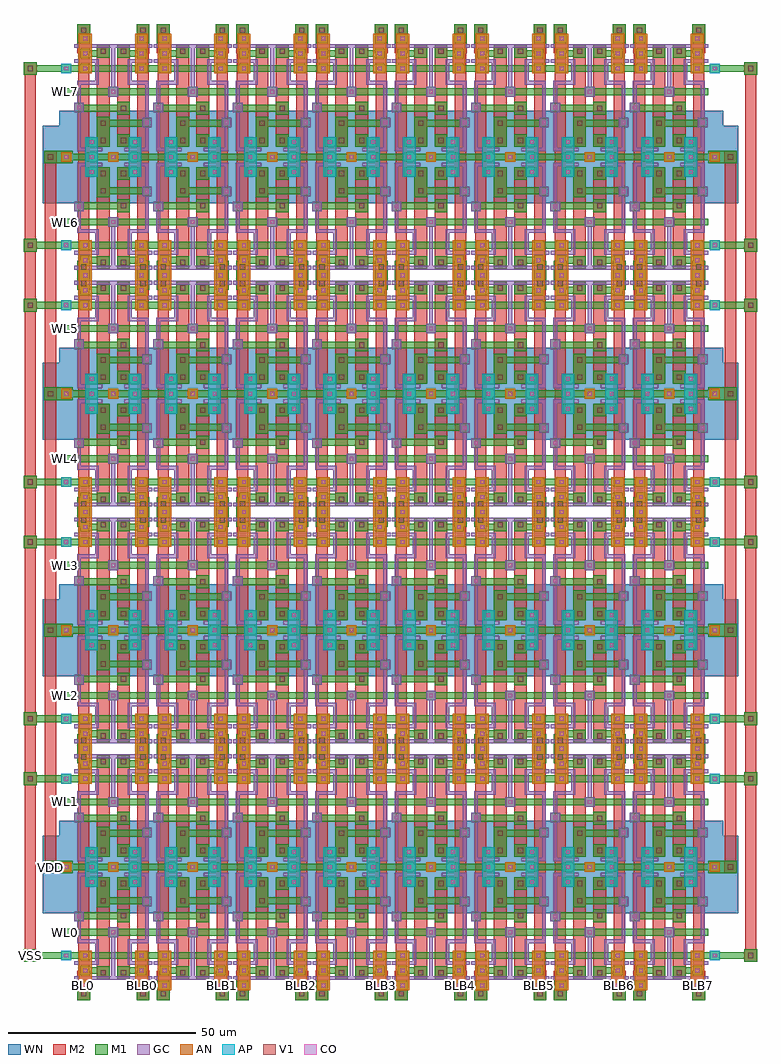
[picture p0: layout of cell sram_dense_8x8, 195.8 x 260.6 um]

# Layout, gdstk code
import gdstk
lib = gdstk.Library(unit=1e-6, precision=1e-07)
def R(c, l, rs):  # rectangles x0, y0, x1, y1
    for r in rs: c.add(gdstk.rectangle(r[:2], r[2:], *l))
def A(c, l, x, y, w, h, nx, ny, dx, dy):  # array of equal rectangles
    R(c, l, [(x+i*dx, y+j*dy, x+i*dx+w, y+j*dy+h) for i in range(nx) for j in range(ny)])
AP = (3, 1)
AN = (3, 2)
GC = (8, 1)
CO = (11, 0)
M1 = (13, 0)
V1 = (19, 0)
M2 = (20, 0)
WN = (140, 0)

sram_dense = lib.new_cell('sram_dense')
R(sram_dense, AP, [(3.3,26.3,6.7,32.9), (14.9,26.3,18.3,32.9)])
R(sram_dense, AN, [(1.6,-1.3,5,9.3), (16.6,-1.3,20,9.3), (9.5,30.3,12.1,32.9)])
R(sram_dense, GC, [(0.4,1.5,6.2,2.5), (2.8,1.5,18.8,2.5), (10.3,1.5,11.3,14.7), (15.4,1.5,21.2,2.5), (0.4,5.5,6.2,6.5), (2.8,5.5,6.9,6.5), (5.9,5.5,6.9,12.3), (14.7,5.5,18.8,6.5), (14.7,5.5,15.7,12.3), (15.4,5.5,21.2,6.5), (1.1,11.3,6.9,12.3), (1.1,11.3,2.1,30.1), (14.7,11.3,20.3,12.3), (19.3,11.3,20.3,30.1), (9.5,12.9,12.1,15.5), (0.3,17.1,2.9,19.7), (18.5,21.1,21.1,23.7), (1.1,29.1,5.5,30.1), (2.1,29.1,7.9,30.1), (13.7,29.1,19.5,30.1), (16.1,29.1,20.3,30.1)])
A(sram_dense, CO, 2.8, -0.5, 1, 1, 1, 3, 0, 4)
A(sram_dense, CO, 17.8, -0.5, 1, 1, 1, 3, 0, 4)
A(sram_dense, CO, 4.5, 31.1, 1, 1, 3, 1, 5.8, 0)
R(sram_dense, CO, [(10.3,13.7,11.3,14.7), (1.1,17.9,2.1,18.9), (19.3,21.9,20.3,22.9), (4.5,27.1,5.5,28.1), (16.1,27.1,17.1,28.1)])
A(sram_dense, M1, 2, -1.3, 2.6, 2.6, 1, 3, 0, 4)
A(sram_dense, M1, 17, -1.3, 2.6, 2.6, 1, 3, 0, 4)
A(sram_dense, M1, 3.7, 30.3, 2.6, 2.6, 3, 1, 5.8, 0)
R(sram_dense, M1, [(1.2,-3.9,4.6,-0.5), (1.2,-3.9,4.6,1.3), (17,-3.9,20.4,-0.5), (17,-3.9,20.4,1.3), (6.4,1.7,9.8,5.1), (11.8,1.7,15.2,5.1), (7.2,2.5,9,4.9), (12.6,2.5,14.4,4.9), (2.4,3.1,9,4.9), (12.6,3.1,19.2,4.9), (0,7.1,21.2,8.9), (9.5,12.9,12.1,15.5), (0,13.3,21.2,15.1), (11.8,16.9,15.2,20.3), (0.3,17.1,2.9,19.7), (0.7,17.7,14.4,19.5), (6.4,20.9,9.8,24.3), (6.4,20.9,9.8,28.9), (18.5,21.1,21.1,23.7), (7.2,21.7,20.7,23.5), (6.4,25.5,9.8,28.9), (11.8,25.5,15.2,28.9), (3.7,26.3,6.3,28.9), (7.2,26.3,9,28.5), (12.6,26.3,14.4,28.5), (15.3,26.3,17.9,28.9), (4.1,26.7,9,28.5), (12.6,26.7,17.5,28.5), (0,30.7,21.2,32.5)])
R(sram_dense, V1, [(2.2,-2.9,3.6,-1.5), (18,-2.9,19.4,-1.5), (7.4,2.7,8.8,4.1), (12.8,2.7,14.2,4.1), (12.8,17.9,14.2,19.3), (7.4,21.9,8.8,23.3), (7.4,26.5,8.8,27.9), (12.8,26.5,14.2,27.9)])
R(sram_dense, M2, [(1.2,-3.9,4.6,-0.5), (1.2,-3.9,4.6,3.9), (1.4,-3.9,4.4,31.6), (17,-3.9,20.4,-0.5), (17,-3.9,20.4,3.9), (17.2,-3.9,20.2,31.6), (6.4,1.7,9.8,5.1), (6.4,1.7,9.8,28.9), (11.8,1.7,15.2,5.1), (11.8,1.7,15.2,28.9), (11.8,16.9,15.2,20.3), (6.4,20.9,9.8,24.3), (6.4,25.5,9.8,28.9), (11.8,25.5,15.2,28.9)])
R(sram_dense, WN, [(-3.7,19.3,25.3,39.9)])

sram_dense_8x8 = lib.new_cell('sram_dense_8x8')
R(sram_dense_8x8, AP, [(-3.1,6.7,-0.5,9.3), (170.1,6.7,172.7,9.3), (-3.1,53.9,-0.5,56.5), (170.1,53.9,172.7,56.5), (-3.1,69.9,-0.5,72.5), (170.1,69.9,172.7,72.5), (-3.1,117.1,-0.5,119.7), (170.1,117.1,172.7,119.7), (-3.1,133.1,-0.5,135.7), (170.1,133.1,172.7,135.7), (-3.1,180.3,-0.5,182.9), (170.1,180.3,172.7,182.9), (-3.1,196.3,-0.5,198.9), (170.1,196.3,172.7,198.9), (-3.1,243.5,-0.5,246.1), (170.1,243.5,172.7,246.1)])
A(sram_dense_8x8, AN, -3.1, 30.3, 2.6, 2.6, 1, 4, 0, 63.2)
A(sram_dense_8x8, AN, 170.1, 30.3, 2.6, 2.6, 1, 4, 0, 63.2)
A(sram_dense_8x8, CO, -2.3, 7.5, 1, 1, 1, 3, 0, 23.6)
A(sram_dense_8x8, CO, 170.9, 7.5, 1, 1, 1, 3, 0, 23.6)
A(sram_dense_8x8, CO, -2.3, 70.7, 1, 1, 1, 3, 0, 23.6)
A(sram_dense_8x8, CO, 170.9, 70.7, 1, 1, 1, 3, 0, 23.6)
A(sram_dense_8x8, CO, -2.3, 133.9, 1, 1, 1, 3, 0, 23.6)
A(sram_dense_8x8, CO, 170.9, 133.9, 1, 1, 1, 3, 0, 23.6)
A(sram_dense_8x8, CO, -2.3, 197.1, 1, 1, 1, 3, 0, 23.6)
A(sram_dense_8x8, CO, 170.9, 197.1, 1, 1, 1, 3, 0, 23.6)
A(sram_dense_8x8, M1, -3.1, 6.7, 2.6, 2.6, 1, 3, 0, 23.6)
A(sram_dense_8x8, M1, 170.1, 6.7, 2.6, 2.6, 1, 3, 0, 23.6)
A(sram_dense_8x8, M1, 0, 7.1, 169.6, 1.8, 1, 3, 0, 23.6)
A(sram_dense_8x8, M1, -7.7, 29.9, 7.6, 3.4, 1, 4, 0, 63.2)
A(sram_dense_8x8, M1, -7.7, 29.9, 3.4, 3.4, 1, 4, 0, 63.2)
A(sram_dense_8x8, M1, 169.7, 29.9, 7.6, 3.4, 1, 4, 0, 63.2)
A(sram_dense_8x8, M1, 173.9, 29.9, 3.4, 3.4, 1, 4, 0, 63.2)
A(sram_dense_8x8, M1, -2.7, 30.7, 3.6, 1.8, 1, 4, 0, 63.2)
A(sram_dense_8x8, M1, 168.7, 30.7, 3.6, 1.8, 1, 4, 0, 63.2)
A(sram_dense_8x8, M1, -3.1, 69.9, 2.6, 2.6, 1, 3, 0, 23.6)
A(sram_dense_8x8, M1, 170.1, 69.9, 2.6, 2.6, 1, 3, 0, 23.6)
A(sram_dense_8x8, M1, 0, 70.3, 169.6, 1.8, 1, 3, 0, 23.6)
A(sram_dense_8x8, M1, -3.1, 133.1, 2.6, 2.6, 1, 3, 0, 23.6)
A(sram_dense_8x8, M1, 170.1, 133.1, 2.6, 2.6, 1, 3, 0, 23.6)
A(sram_dense_8x8, M1, 0, 133.5, 169.6, 1.8, 1, 3, 0, 23.6)
A(sram_dense_8x8, M1, -3.1, 196.3, 2.6, 2.6, 1, 3, 0, 23.6)
A(sram_dense_8x8, M1, 170.1, 196.3, 2.6, 2.6, 1, 3, 0, 23.6)
A(sram_dense_8x8, M1, 0, 196.7, 169.6, 1.8, 1, 3, 0, 23.6)
R(sram_dense_8x8, M1, [(-13.1,6.3,-9.7,9.7), (179.3,6.3,182.7,9.7), (-12.3,7.1,0.9,8.9), (168.7,7.1,181.9,8.9), (-3,13.3,169.6,15.1), (-3,48.1,169.6,49.9), (-13.1,53.5,-9.7,56.9), (179.3,53.5,182.7,56.9), (-12.3,54.3,0.9,56.1), (168.7,54.3,181.9,56.1), (-13.1,69.5,-9.7,72.9), (179.3,69.5,182.7,72.9), (-12.3,70.3,0.9,72.1), (168.7,70.3,181.9,72.1), (-3,76.5,169.6,78.3), (-3,111.3,169.6,113.1), (-13.1,116.7,-9.7,120.1), (179.3,116.7,182.7,120.1), (-12.3,117.5,0.9,119.3), (168.7,117.5,181.9,119.3), (-13.1,132.7,-9.7,136.1), (179.3,132.7,182.7,136.1), (-12.3,133.5,0.9,135.3), (168.7,133.5,181.9,135.3), (-3,139.7,169.6,141.5), (-3,174.5,169.6,176.3), (-13.1,179.9,-9.7,183.3), (179.3,179.9,182.7,183.3), (-12.3,180.7,0.9,182.5), (168.7,180.7,181.9,182.5), (-13.1,195.9,-9.7,199.3), (179.3,195.9,182.7,199.3), (-12.3,196.7,0.9,198.5), (168.7,196.7,181.9,198.5), (-3,202.9,169.6,204.7), (-3,237.7,169.6,239.5), (-13.1,243.1,-9.7,246.5), (179.3,243.1,182.7,246.5), (-12.3,243.9,0.9,245.7), (168.7,243.9,181.9,245.7)])
A(sram_dense_8x8, V1, -6.7, 30.9, 1.4, 1.4, 1, 4, 0, 63.2)
A(sram_dense_8x8, V1, 174.9, 30.9, 1.4, 1.4, 1, 4, 0, 63.2)
R(sram_dense_8x8, V1, [(-12.1,7.3,-10.7,8.7), (180.3,7.3,181.7,8.7), (-12.1,54.5,-10.7,55.9), (180.3,54.5,181.7,55.9), (-12.1,70.5,-10.7,71.9), (180.3,70.5,181.7,71.9), (-12.1,117.7,-10.7,119.1), (180.3,117.7,181.7,119.1), (-12.1,133.7,-10.7,135.1), (180.3,133.7,181.7,135.1), (-12.1,180.9,-10.7,182.3), (180.3,180.9,181.7,182.3), (-12.1,196.9,-10.7,198.3), (180.3,196.9,181.7,198.3), (-12.1,244.1,-10.7,245.5), (180.3,244.1,181.7,245.5)])
A(sram_dense_8x8, M2, -7.7, 29.9, 3.4, 3.4, 1, 4, 0, 63.2)
A(sram_dense_8x8, M2, 173.9, 29.9, 3.4, 3.4, 1, 4, 0, 63.2)
R(sram_dense_8x8, M2, [(-13.1,6.3,-9.7,9.7), (-12.9,6.3,-9.9,246.5), (179.3,6.3,182.7,9.7), (179.5,6.3,182.5,246.5), (-7.5,29.9,-4.5,222.9), (174.1,29.9,177.1,222.9), (-13.1,53.5,-9.7,56.9), (179.3,53.5,182.7,56.9), (-13.1,69.5,-9.7,72.9), (179.3,69.5,182.7,72.9), (-13.1,116.7,-9.7,120.1), (179.3,116.7,182.7,120.1), (-13.1,132.7,-9.7,136.1), (179.3,132.7,182.7,136.1), (-13.1,179.9,-9.7,183.3), (179.3,179.9,182.7,183.3), (-13.1,195.9,-9.7,199.3), (179.3,195.9,182.7,199.3), (-13.1,243.1,-9.7,246.5), (179.3,243.1,182.7,246.5)])
A(sram_dense_8x8, WN, -8.1, 19.3, 177.7, 20.6, 1, 4, 0, 63.2)
A(sram_dense_8x8, WN, 0, 19.3, 177.7, 20.6, 1, 4, 0, 63.2)
r = gdstk.Reference(sram_dense, (0,0)); r.repetition = gdstk.Repetition(8, 1, v1=(21.2,0), v2=(0,0)); sram_dense_8x8.add(r)
r = gdstk.Reference(sram_dense, (0,63.2), x_reflection=True); r.repetition = gdstk.Repetition(8, 1, v1=(21.2,0), v2=(0,0)); sram_dense_8x8.add(r)
r = gdstk.Reference(sram_dense, (0,63.2)); r.repetition = gdstk.Repetition(8, 1, v1=(21.2,0), v2=(0,0)); sram_dense_8x8.add(r)
r = gdstk.Reference(sram_dense, (0,126.4), x_reflection=True); r.repetition = gdstk.Repetition(8, 1, v1=(21.2,0), v2=(0,0)); sram_dense_8x8.add(r)
r = gdstk.Reference(sram_dense, (0,126.4)); r.repetition = gdstk.Repetition(8, 1, v1=(21.2,0), v2=(0,0)); sram_dense_8x8.add(r)
r = gdstk.Reference(sram_dense, (0,189.6), x_reflection=True); r.repetition = gdstk.Repetition(8, 1, v1=(21.2,0), v2=(0,0)); sram_dense_8x8.add(r)
r = gdstk.Reference(sram_dense, (0,189.6)); r.repetition = gdstk.Repetition(8, 1, v1=(21.2,0), v2=(0,0)); sram_dense_8x8.add(r)
r = gdstk.Reference(sram_dense, (0,252.8), x_reflection=True); r.repetition = gdstk.Repetition(8, 1, v1=(21.2,0), v2=(0,0)); sram_dense_8x8.add(r)
sram_dense_8x8.add(gdstk.Label('WL0', (-2,14.2), layer=48, texttype=0))
sram_dense_8x8.add(gdstk.Label('WL1', (-2,49), layer=48, texttype=0))
sram_dense_8x8.add(gdstk.Label('WL2', (-2,77.4), layer=48, texttype=0))
sram_dense_8x8.add(gdstk.Label('WL3', (-2,112.2), layer=48, texttype=0))
sram_dense_8x8.add(gdstk.Label('WL4', (-2,140.6), layer=48, texttype=0))
sram_dense_8x8.add(gdstk.Label('WL5', (-2,175.4), layer=48, texttype=0))
sram_dense_8x8.add(gdstk.Label('WL6', (-2,203.8), layer=48, texttype=0))
sram_dense_8x8.add(gdstk.Label('WL7', (-2,238.6), layer=48, texttype=0))
sram_dense_8x8.add(gdstk.Label('VDD', (-6,31.6), layer=49, texttype=0))
sram_dense_8x8.add(gdstk.Label('VSS', (-11.4,8), layer=49, texttype=0))
sram_dense_8x8.add(gdstk.Label('BL0', (2.9,0), layer=49, texttype=0))
sram_dense_8x8.add(gdstk.Label('BLB0', (18.7,0), layer=49, texttype=0))
sram_dense_8x8.add(gdstk.Label('BL1', (24.1,0), layer=49, texttype=0))
sram_dense_8x8.add(gdstk.Label('BLB1', (39.9,0), layer=49, texttype=0))
sram_dense_8x8.add(gdstk.Label('BL2', (45.3,0), layer=49, texttype=0))
sram_dense_8x8.add(gdstk.Label('BLB2', (61.1,0), layer=49, texttype=0))
sram_dense_8x8.add(gdstk.Label('BL3', (66.5,0), layer=49, texttype=0))
sram_dense_8x8.add(gdstk.Label('BLB3', (82.3,0), layer=49, texttype=0))
sram_dense_8x8.add(gdstk.Label('BL4', (87.7,0), layer=49, texttype=0))
sram_dense_8x8.add(gdstk.Label('BLB4', (103.5,0), layer=49, texttype=0))
sram_dense_8x8.add(gdstk.Label('BL5', (108.9,0), layer=49, texttype=0))
sram_dense_8x8.add(gdstk.Label('BLB5', (124.7,0), layer=49, texttype=0))
sram_dense_8x8.add(gdstk.Label('BL6', (130.1,0), layer=49, texttype=0))
sram_dense_8x8.add(gdstk.Label('BLB6', (145.9,0), layer=49, texttype=0))
sram_dense_8x8.add(gdstk.Label('BL7', (151.3,0), layer=49, texttype=0))
sram_dense_8x8.add(gdstk.Label('BLB7', (167.1,0), layer=49, texttype=0))

lib.write_gds('sram_dense_8x8.gds')
